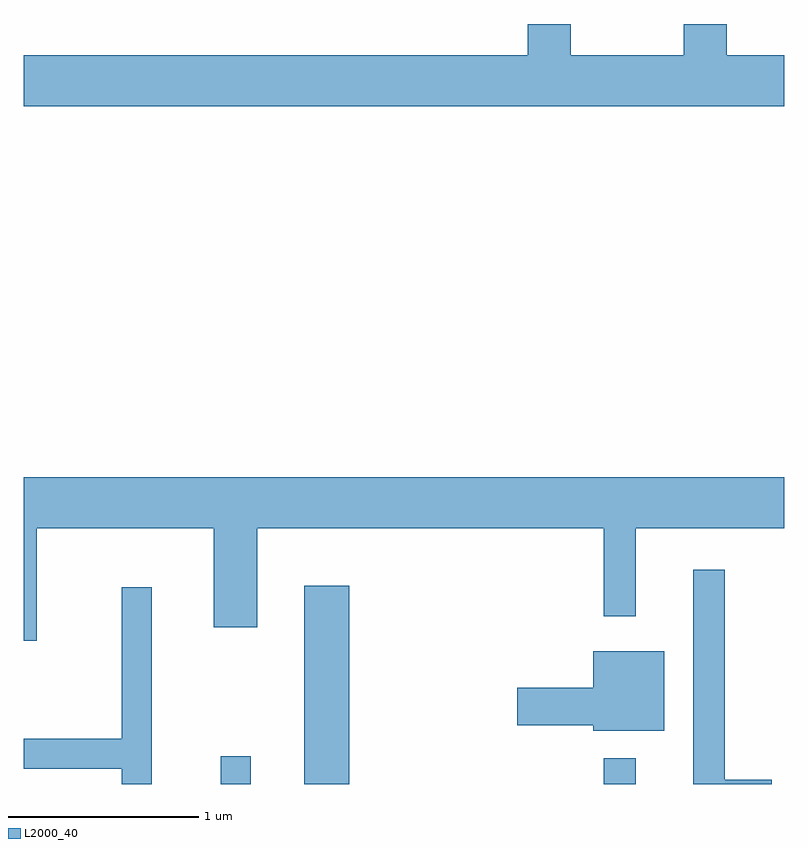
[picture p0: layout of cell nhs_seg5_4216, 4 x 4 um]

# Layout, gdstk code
import gdstk
lib = gdstk.Library(unit=1e-6, precision=1e-09)
def R(c, l, rs):  # rectangles x0, y0, x1, y1
    for r in rs: c.add(gdstk.rectangle(r[:2], r[2:], *l))
def P(c, l, *ps):  # polygons
    for p in ps: c.add(gdstk.Polygon(p, *l))
L2000_40 = (2000, 40)

nhs_seg5_4216 = lib.new_cell('nhs_seg5_4216')
R(nhs_seg5_4216, L2000_40, [(310.646,1502.072,310.804,1502.218), (311.086,1502.072,311.324,1503.114), (312.661,1502.072,312.829,1502.208)])
P(nhs_seg5_4216, L2000_40, [(313.611,1505.904),(313.309,1505.904),(313.309,1506.069),(313.081,1506.069),(313.081,1505.904),(312.489,1505.904),(312.489,1506.069),(312.261,1506.069),(312.261,1505.904),(309.611,1505.904),(309.611,1505.636),(313.611,1505.636)],
  [(309.679,1503.416),(310.611,1503.416),(310.611,1502.896),(310.839,1502.896),(310.839,1503.416),(312.661,1503.416),(312.661,1502.953),(312.829,1502.953),(312.829,1503.416),(313.611,1503.416),(313.611,1503.684),(309.611,1503.684),(309.611,1502.826),(309.679,1502.826)],
  [(313.544,1502.094),(313.299,1502.094),(313.299,1503.198),(313.131,1503.198),(313.131,1502.072),(313.544,1502.072)],
  [(310.284,1503.108),(310.126,1503.108),(310.126,1502.309),(309.611,1502.309),(309.611,1502.151),(310.126,1502.151),(310.126,1502.072),(310.284,1502.072)],
  [(312.979,1502.769),(312.606,1502.769),(312.606,1502.579),(312.206,1502.579),(312.206,1502.381),(312.606,1502.381),(312.606,1502.351),(312.979,1502.351)])

lib.write_gds('nhs_seg5_4216.gds')
